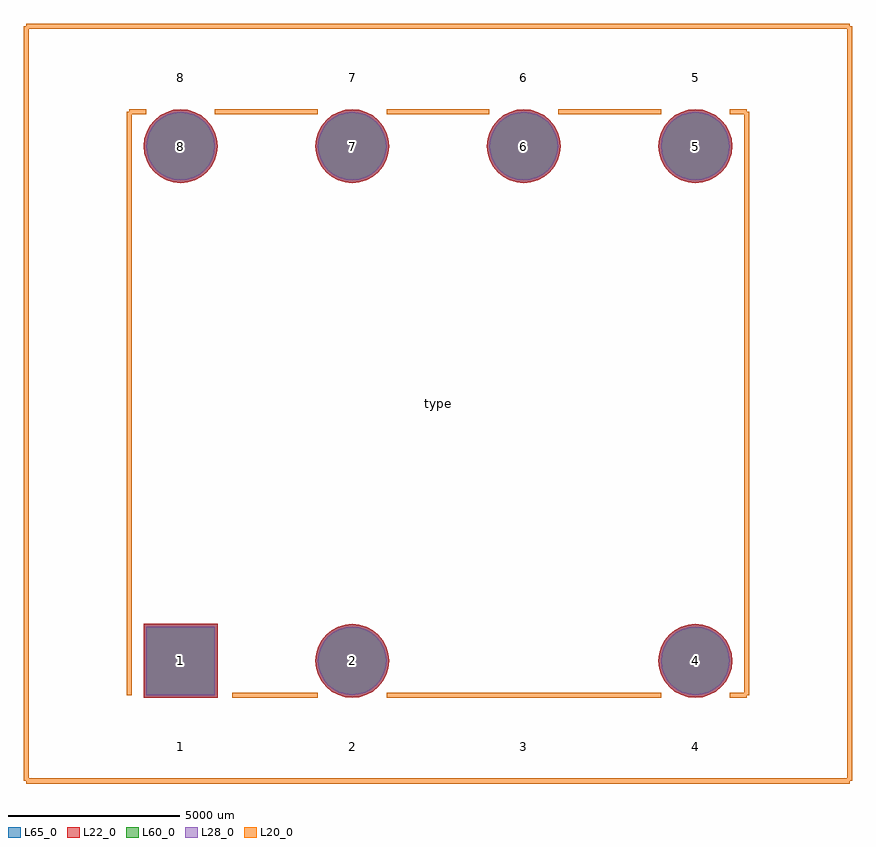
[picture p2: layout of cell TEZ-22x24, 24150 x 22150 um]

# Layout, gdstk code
import gdstk
lib = gdstk.Library(unit=1e-6, precision=1e-09)
def R(c, l, rs):  # rectangles x0, y0, x1, y1
    for r in rs: c.add(gdstk.rectangle(r[:2], r[2:], *l))
def P(c, l, *ps):  # polygons
    for p in ps: c.add(gdstk.Polygon(p, *l))
L20_0 = (20, 0)
L22_0 = (22, 0)
L28_0 = (28, 0)
L60_0 = (60, 0)
L65_0 = (65, 0)

tez_22x24 = lib.new_cell('TEZ-22x24')
R(tez_22x24, L22_0, [(-8575,-8575,-6425,-6425)])
P(tez_22x24, L22_0, [(-6425,7500),(-6445.656,7709.722),(-6506.83,7911.385),(-6606.17,8097.238),(-6739.86,8260.14),(-6902.762,8393.83),(-7088.615,8493.17),(-7290.278,8554.344),(-7500,8575),(-7709.722,8554.344),(-7911.385,8493.17),(-8097.238,8393.83),(-8260.14,8260.14),(-8393.83,8097.238),(-8493.17,7911.385),(-8554.344,7709.722),(-8575,7500),(-8554.344,7290.278),(-8493.17,7088.615),(-8393.83,6902.762),(-8260.14,6739.86),(-8097.238,6606.17),(-7911.385,6506.83),(-7709.722,6445.656),(-7500,6425),(-7290.278,6445.656),(-7088.615,6506.83),(-6902.762,6606.17),(-6739.86,6739.86),(-6606.17,6902.762),(-6506.83,7088.615),(-6445.656,7290.278)],
  [(-1425,7500),(-1445.656,7709.722),(-1506.83,7911.385),(-1606.17,8097.238),(-1739.86,8260.14),(-1902.762,8393.83),(-2088.615,8493.17),(-2290.278,8554.344),(-2500,8575),(-2709.722,8554.344),(-2911.385,8493.17),(-3097.238,8393.83),(-3260.14,8260.14),(-3393.83,8097.238),(-3493.17,7911.385),(-3554.344,7709.722),(-3575,7500),(-3554.344,7290.278),(-3493.17,7088.615),(-3393.83,6902.762),(-3260.14,6739.86),(-3097.238,6606.17),(-2911.385,6506.83),(-2709.722,6445.656),(-2500,6425),(-2290.278,6445.656),(-2088.615,6506.83),(-1902.762,6606.17),(-1739.86,6739.86),(-1606.17,6902.762),(-1506.83,7088.615),(-1445.656,7290.278)],
  [(3575,7500),(3554.344,7709.722),(3493.17,7911.385),(3393.83,8097.238),(3260.14,8260.14),(3097.238,8393.83),(2911.385,8493.17),(2709.722,8554.344),(2500,8575),(2290.278,8554.344),(2088.615,8493.17),(1902.762,8393.83),(1739.86,8260.14),(1606.17,8097.238),(1506.83,7911.385),(1445.656,7709.722),(1425,7500),(1445.656,7290.278),(1506.83,7088.615),(1606.17,6902.762),(1739.86,6739.86),(1902.762,6606.17),(2088.615,6506.83),(2290.278,6445.656),(2500,6425),(2709.722,6445.656),(2911.385,6506.83),(3097.238,6606.17),(3260.14,6739.86),(3393.83,6902.762),(3493.17,7088.615),(3554.344,7290.278)],
  [(8575,7500),(8554.344,7709.722),(8493.17,7911.385),(8393.83,8097.238),(8260.14,8260.14),(8097.238,8393.83),(7911.385,8493.17),(7709.722,8554.344),(7500,8575),(7290.278,8554.344),(7088.615,8493.17),(6902.762,8393.83),(6739.86,8260.14),(6606.17,8097.238),(6506.83,7911.385),(6445.656,7709.722),(6425,7500),(6445.656,7290.278),(6506.83,7088.615),(6606.17,6902.762),(6739.86,6739.86),(6902.762,6606.17),(7088.615,6506.83),(7290.278,6445.656),(7500,6425),(7709.722,6445.656),(7911.385,6506.83),(8097.238,6606.17),(8260.14,6739.86),(8393.83,6902.762),(8493.17,7088.615),(8554.344,7290.278)],
  [(8575,-7500),(8554.344,-7290.278),(8493.17,-7088.615),(8393.83,-6902.762),(8260.14,-6739.86),(8097.238,-6606.17),(7911.385,-6506.83),(7709.722,-6445.656),(7500,-6425),(7290.278,-6445.656),(7088.615,-6506.83),(6902.762,-6606.17),(6739.86,-6739.86),(6606.17,-6902.762),(6506.83,-7088.615),(6445.656,-7290.278),(6425,-7500),(6445.656,-7709.722),(6506.83,-7911.385),(6606.17,-8097.238),(6739.86,-8260.14),(6902.762,-8393.83),(7088.615,-8493.17),(7290.278,-8554.344),(7500,-8575),(7709.722,-8554.344),(7911.385,-8493.17),(8097.238,-8393.83),(8260.14,-8260.14),(8393.83,-8097.238),(8493.17,-7911.385),(8554.344,-7709.722)],
  [(-1425,-7500),(-1445.656,-7290.278),(-1506.83,-7088.615),(-1606.17,-6902.762),(-1739.86,-6739.86),(-1902.762,-6606.17),(-2088.615,-6506.83),(-2290.278,-6445.656),(-2500,-6425),(-2709.722,-6445.656),(-2911.385,-6506.83),(-3097.238,-6606.17),(-3260.14,-6739.86),(-3393.83,-6902.762),(-3493.17,-7088.615),(-3554.344,-7290.278),(-3575,-7500),(-3554.344,-7709.722),(-3493.17,-7911.385),(-3393.83,-8097.238),(-3260.14,-8260.14),(-3097.238,-8393.83),(-2911.385,-8493.17),(-2709.722,-8554.344),(-2500,-8575),(-2290.278,-8554.344),(-2088.615,-8493.17),(-1902.762,-8393.83),(-1739.86,-8260.14),(-1606.17,-8097.238),(-1506.83,-7911.385),(-1445.656,-7709.722)])
R(tez_22x24, L28_0, [(-8500,-8500,-6500,-6500)])
P(tez_22x24, L28_0, [(-6500,7500),(-6519.215,7695.09),(-6576.12,7882.683),(-6668.53,8055.57),(-6792.893,8207.107),(-6944.43,8331.47),(-7117.317,8423.88),(-7304.91,8480.785),(-7500,8500),(-7695.09,8480.785),(-7882.683,8423.88),(-8055.57,8331.47),(-8207.107,8207.107),(-8331.47,8055.57),(-8423.88,7882.683),(-8480.785,7695.09),(-8500,7500),(-8480.785,7304.91),(-8423.88,7117.317),(-8331.47,6944.43),(-8207.107,6792.893),(-8055.57,6668.53),(-7882.683,6576.12),(-7695.09,6519.215),(-7500,6500),(-7304.91,6519.215),(-7117.317,6576.12),(-6944.43,6668.53),(-6792.893,6792.893),(-6668.53,6944.43),(-6576.12,7117.317),(-6519.215,7304.91)],
  [(-1500,7500),(-1519.215,7695.09),(-1576.12,7882.683),(-1668.53,8055.57),(-1792.893,8207.107),(-1944.43,8331.47),(-2117.317,8423.88),(-2304.91,8480.785),(-2500,8500),(-2695.09,8480.785),(-2882.683,8423.88),(-3055.57,8331.47),(-3207.107,8207.107),(-3331.47,8055.57),(-3423.88,7882.683),(-3480.785,7695.09),(-3500,7500),(-3480.785,7304.91),(-3423.88,7117.317),(-3331.47,6944.43),(-3207.107,6792.893),(-3055.57,6668.53),(-2882.683,6576.12),(-2695.09,6519.215),(-2500,6500),(-2304.91,6519.215),(-2117.317,6576.12),(-1944.43,6668.53),(-1792.893,6792.893),(-1668.53,6944.43),(-1576.12,7117.317),(-1519.215,7304.91)],
  [(3500,7500),(3480.785,7695.09),(3423.88,7882.683),(3331.47,8055.57),(3207.107,8207.107),(3055.57,8331.47),(2882.683,8423.88),(2695.09,8480.785),(2500,8500),(2304.91,8480.785),(2117.317,8423.88),(1944.43,8331.47),(1792.893,8207.107),(1668.53,8055.57),(1576.12,7882.683),(1519.215,7695.09),(1500,7500),(1519.215,7304.91),(1576.12,7117.317),(1668.53,6944.43),(1792.893,6792.893),(1944.43,6668.53),(2117.317,6576.12),(2304.91,6519.215),(2500,6500),(2695.09,6519.215),(2882.683,6576.12),(3055.57,6668.53),(3207.107,6792.893),(3331.47,6944.43),(3423.88,7117.317),(3480.785,7304.91)],
  [(8500,7500),(8480.785,7695.09),(8423.88,7882.683),(8331.47,8055.57),(8207.107,8207.107),(8055.57,8331.47),(7882.683,8423.88),(7695.09,8480.785),(7500,8500),(7304.91,8480.785),(7117.317,8423.88),(6944.43,8331.47),(6792.893,8207.107),(6668.53,8055.57),(6576.12,7882.683),(6519.215,7695.09),(6500,7500),(6519.215,7304.91),(6576.12,7117.317),(6668.53,6944.43),(6792.893,6792.893),(6944.43,6668.53),(7117.317,6576.12),(7304.91,6519.215),(7500,6500),(7695.09,6519.215),(7882.683,6576.12),(8055.57,6668.53),(8207.107,6792.893),(8331.47,6944.43),(8423.88,7117.317),(8480.785,7304.91)],
  [(8500,-7500),(8480.785,-7304.91),(8423.88,-7117.317),(8331.47,-6944.43),(8207.107,-6792.893),(8055.57,-6668.53),(7882.683,-6576.12),(7695.09,-6519.215),(7500,-6500),(7304.91,-6519.215),(7117.317,-6576.12),(6944.43,-6668.53),(6792.893,-6792.893),(6668.53,-6944.43),(6576.12,-7117.317),(6519.215,-7304.91),(6500,-7500),(6519.215,-7695.09),(6576.12,-7882.683),(6668.53,-8055.57),(6792.893,-8207.107),(6944.43,-8331.47),(7117.317,-8423.88),(7304.91,-8480.785),(7500,-8500),(7695.09,-8480.785),(7882.683,-8423.88),(8055.57,-8331.47),(8207.107,-8207.107),(8331.47,-8055.57),(8423.88,-7882.683),(8480.785,-7695.09)],
  [(-1500,-7500),(-1519.215,-7304.91),(-1576.12,-7117.317),(-1668.53,-6944.43),(-1792.893,-6792.893),(-1944.43,-6668.53),(-2117.317,-6576.12),(-2304.91,-6519.215),(-2500,-6500),(-2695.09,-6519.215),(-2882.683,-6576.12),(-3055.57,-6668.53),(-3207.107,-6792.893),(-3331.47,-6944.43),(-3423.88,-7117.317),(-3480.785,-7304.91),(-3500,-7500),(-3480.785,-7695.09),(-3423.88,-7882.683),(-3331.47,-8055.57),(-3207.107,-8207.107),(-3055.57,-8331.47),(-2882.683,-8423.88),(-2695.09,-8480.785),(-2500,-8500),(-2304.91,-8480.785),(-2117.317,-8423.88),(-1944.43,-8331.47),(-1792.893,-8207.107),(-1668.53,-8055.57),(-1576.12,-7882.683),(-1519.215,-7695.09)])
R(tez_22x24, L60_0, [(-8500,-8500,-6500,-6500)])
P(tez_22x24, L60_0, [(-6500,7500),(-6519.215,7695.09),(-6576.12,7882.683),(-6668.53,8055.57),(-6792.893,8207.107),(-6944.43,8331.47),(-7117.317,8423.88),(-7304.91,8480.785),(-7500,8500),(-7695.09,8480.785),(-7882.683,8423.88),(-8055.57,8331.47),(-8207.107,8207.107),(-8331.47,8055.57),(-8423.88,7882.683),(-8480.785,7695.09),(-8500,7500),(-8480.785,7304.91),(-8423.88,7117.317),(-8331.47,6944.43),(-8207.107,6792.893),(-8055.57,6668.53),(-7882.683,6576.12),(-7695.09,6519.215),(-7500,6500),(-7304.91,6519.215),(-7117.317,6576.12),(-6944.43,6668.53),(-6792.893,6792.893),(-6668.53,6944.43),(-6576.12,7117.317),(-6519.215,7304.91)],
  [(-1500,7500),(-1519.215,7695.09),(-1576.12,7882.683),(-1668.53,8055.57),(-1792.893,8207.107),(-1944.43,8331.47),(-2117.317,8423.88),(-2304.91,8480.785),(-2500,8500),(-2695.09,8480.785),(-2882.683,8423.88),(-3055.57,8331.47),(-3207.107,8207.107),(-3331.47,8055.57),(-3423.88,7882.683),(-3480.785,7695.09),(-3500,7500),(-3480.785,7304.91),(-3423.88,7117.317),(-3331.47,6944.43),(-3207.107,6792.893),(-3055.57,6668.53),(-2882.683,6576.12),(-2695.09,6519.215),(-2500,6500),(-2304.91,6519.215),(-2117.317,6576.12),(-1944.43,6668.53),(-1792.893,6792.893),(-1668.53,6944.43),(-1576.12,7117.317),(-1519.215,7304.91)],
  [(3500,7500),(3480.785,7695.09),(3423.88,7882.683),(3331.47,8055.57),(3207.107,8207.107),(3055.57,8331.47),(2882.683,8423.88),(2695.09,8480.785),(2500,8500),(2304.91,8480.785),(2117.317,8423.88),(1944.43,8331.47),(1792.893,8207.107),(1668.53,8055.57),(1576.12,7882.683),(1519.215,7695.09),(1500,7500),(1519.215,7304.91),(1576.12,7117.317),(1668.53,6944.43),(1792.893,6792.893),(1944.43,6668.53),(2117.317,6576.12),(2304.91,6519.215),(2500,6500),(2695.09,6519.215),(2882.683,6576.12),(3055.57,6668.53),(3207.107,6792.893),(3331.47,6944.43),(3423.88,7117.317),(3480.785,7304.91)],
  [(8500,7500),(8480.785,7695.09),(8423.88,7882.683),(8331.47,8055.57),(8207.107,8207.107),(8055.57,8331.47),(7882.683,8423.88),(7695.09,8480.785),(7500,8500),(7304.91,8480.785),(7117.317,8423.88),(6944.43,8331.47),(6792.893,8207.107),(6668.53,8055.57),(6576.12,7882.683),(6519.215,7695.09),(6500,7500),(6519.215,7304.91),(6576.12,7117.317),(6668.53,6944.43),(6792.893,6792.893),(6944.43,6668.53),(7117.317,6576.12),(7304.91,6519.215),(7500,6500),(7695.09,6519.215),(7882.683,6576.12),(8055.57,6668.53),(8207.107,6792.893),(8331.47,6944.43),(8423.88,7117.317),(8480.785,7304.91)],
  [(8500,-7500),(8480.785,-7304.91),(8423.88,-7117.317),(8331.47,-6944.43),(8207.107,-6792.893),(8055.57,-6668.53),(7882.683,-6576.12),(7695.09,-6519.215),(7500,-6500),(7304.91,-6519.215),(7117.317,-6576.12),(6944.43,-6668.53),(6792.893,-6792.893),(6668.53,-6944.43),(6576.12,-7117.317),(6519.215,-7304.91),(6500,-7500),(6519.215,-7695.09),(6576.12,-7882.683),(6668.53,-8055.57),(6792.893,-8207.107),(6944.43,-8331.47),(7117.317,-8423.88),(7304.91,-8480.785),(7500,-8500),(7695.09,-8480.785),(7882.683,-8423.88),(8055.57,-8331.47),(8207.107,-8207.107),(8331.47,-8055.57),(8423.88,-7882.683),(8480.785,-7695.09)],
  [(-1500,-7500),(-1519.215,-7304.91),(-1576.12,-7117.317),(-1668.53,-6944.43),(-1792.893,-6792.893),(-1944.43,-6668.53),(-2117.317,-6576.12),(-2304.91,-6519.215),(-2500,-6500),(-2695.09,-6519.215),(-2882.683,-6576.12),(-3055.57,-6668.53),(-3207.107,-6792.893),(-3331.47,-6944.43),(-3423.88,-7117.317),(-3480.785,-7304.91),(-3500,-7500),(-3480.785,-7695.09),(-3423.88,-7882.683),(-3331.47,-8055.57),(-3207.107,-8207.107),(-3055.57,-8331.47),(-2882.683,-8423.88),(-2695.09,-8480.785),(-2500,-8500),(-2304.91,-8480.785),(-2117.317,-8423.88),(-1944.43,-8331.47),(-1792.893,-8207.107),(-1668.53,-8055.57),(-1576.12,-7882.683),(-1519.215,-7695.09)])
R(tez_22x24, L65_0, [(-8575,-8575,-6425,-6425)])
P(tez_22x24, L65_0, [(-6425,7500),(-6445.656,7709.722),(-6506.83,7911.385),(-6606.17,8097.238),(-6739.86,8260.14),(-6902.762,8393.83),(-7088.615,8493.17),(-7290.278,8554.344),(-7500,8575),(-7709.722,8554.344),(-7911.385,8493.17),(-8097.238,8393.83),(-8260.14,8260.14),(-8393.83,8097.238),(-8493.17,7911.385),(-8554.344,7709.722),(-8575,7500),(-8554.344,7290.278),(-8493.17,7088.615),(-8393.83,6902.762),(-8260.14,6739.86),(-8097.238,6606.17),(-7911.385,6506.83),(-7709.722,6445.656),(-7500,6425),(-7290.278,6445.656),(-7088.615,6506.83),(-6902.762,6606.17),(-6739.86,6739.86),(-6606.17,6902.762),(-6506.83,7088.615),(-6445.656,7290.278)],
  [(-1425,7500),(-1445.656,7709.722),(-1506.83,7911.385),(-1606.17,8097.238),(-1739.86,8260.14),(-1902.762,8393.83),(-2088.615,8493.17),(-2290.278,8554.344),(-2500,8575),(-2709.722,8554.344),(-2911.385,8493.17),(-3097.238,8393.83),(-3260.14,8260.14),(-3393.83,8097.238),(-3493.17,7911.385),(-3554.344,7709.722),(-3575,7500),(-3554.344,7290.278),(-3493.17,7088.615),(-3393.83,6902.762),(-3260.14,6739.86),(-3097.238,6606.17),(-2911.385,6506.83),(-2709.722,6445.656),(-2500,6425),(-2290.278,6445.656),(-2088.615,6506.83),(-1902.762,6606.17),(-1739.86,6739.86),(-1606.17,6902.762),(-1506.83,7088.615),(-1445.656,7290.278)],
  [(3575,7500),(3554.344,7709.722),(3493.17,7911.385),(3393.83,8097.238),(3260.14,8260.14),(3097.238,8393.83),(2911.385,8493.17),(2709.722,8554.344),(2500,8575),(2290.278,8554.344),(2088.615,8493.17),(1902.762,8393.83),(1739.86,8260.14),(1606.17,8097.238),(1506.83,7911.385),(1445.656,7709.722),(1425,7500),(1445.656,7290.278),(1506.83,7088.615),(1606.17,6902.762),(1739.86,6739.86),(1902.762,6606.17),(2088.615,6506.83),(2290.278,6445.656),(2500,6425),(2709.722,6445.656),(2911.385,6506.83),(3097.238,6606.17),(3260.14,6739.86),(3393.83,6902.762),(3493.17,7088.615),(3554.344,7290.278)],
  [(8575,7500),(8554.344,7709.722),(8493.17,7911.385),(8393.83,8097.238),(8260.14,8260.14),(8097.238,8393.83),(7911.385,8493.17),(7709.722,8554.344),(7500,8575),(7290.278,8554.344),(7088.615,8493.17),(6902.762,8393.83),(6739.86,8260.14),(6606.17,8097.238),(6506.83,7911.385),(6445.656,7709.722),(6425,7500),(6445.656,7290.278),(6506.83,7088.615),(6606.17,6902.762),(6739.86,6739.86),(6902.762,6606.17),(7088.615,6506.83),(7290.278,6445.656),(7500,6425),(7709.722,6445.656),(7911.385,6506.83),(8097.238,6606.17),(8260.14,6739.86),(8393.83,6902.762),(8493.17,7088.615),(8554.344,7290.278)],
  [(8575,-7500),(8554.344,-7290.278),(8493.17,-7088.615),(8393.83,-6902.762),(8260.14,-6739.86),(8097.238,-6606.17),(7911.385,-6506.83),(7709.722,-6445.656),(7500,-6425),(7290.278,-6445.656),(7088.615,-6506.83),(6902.762,-6606.17),(6739.86,-6739.86),(6606.17,-6902.762),(6506.83,-7088.615),(6445.656,-7290.278),(6425,-7500),(6445.656,-7709.722),(6506.83,-7911.385),(6606.17,-8097.238),(6739.86,-8260.14),(6902.762,-8393.83),(7088.615,-8493.17),(7290.278,-8554.344),(7500,-8575),(7709.722,-8554.344),(7911.385,-8493.17),(8097.238,-8393.83),(8260.14,-8260.14),(8393.83,-8097.238),(8493.17,-7911.385),(8554.344,-7709.722)],
  [(-1425,-7500),(-1445.656,-7290.278),(-1506.83,-7088.615),(-1606.17,-6902.762),(-1739.86,-6739.86),(-1902.762,-6606.17),(-2088.615,-6506.83),(-2290.278,-6445.656),(-2500,-6425),(-2709.722,-6445.656),(-2911.385,-6506.83),(-3097.238,-6606.17),(-3260.14,-6739.86),(-3393.83,-6902.762),(-3493.17,-7088.615),(-3554.344,-7290.278),(-3575,-7500),(-3554.344,-7709.722),(-3493.17,-7911.385),(-3393.83,-8097.238),(-3260.14,-8260.14),(-3097.238,-8393.83),(-2911.385,-8493.17),(-2709.722,-8554.344),(-2500,-8575),(-2290.278,-8554.344),(-2088.615,-8493.17),(-1902.762,-8393.83),(-1739.86,-8260.14),(-1606.17,-8097.238),(-1506.83,-7911.385),(-1445.656,-7709.722)])
tez_22x24.add(gdstk.FlexPath([(-12000,-11000),(-12000,11000)], 149.998, ends="flush", simple_path=True, layer=20, datatype=0))  # L20_0
tez_22x24.add(gdstk.FlexPath([(12000,-11000),(-12000,-11000)], 149.998, ends="flush", simple_path=True, layer=20, datatype=0))  # L20_0
tez_22x24.add(gdstk.FlexPath([(12000,11000),(12000,-11000)], 149.998, ends="flush", simple_path=True, layer=20, datatype=0))  # L20_0
tez_22x24.add(gdstk.FlexPath([(-12000,11000),(12000,11000)], 149.998, ends="flush", simple_path=True, layer=20, datatype=0))  # L20_0
tez_22x24.add(gdstk.FlexPath([(-6500,8500),(-3500,8500)], 149.998, ends="flush", simple_path=True, layer=20, datatype=0))  # L20_0
tez_22x24.add(gdstk.FlexPath([(-1500,8500),(1500,8500)], 149.998, ends="flush", simple_path=True, layer=20, datatype=0))  # L20_0
tez_22x24.add(gdstk.FlexPath([(3500,8500),(6500,8500)], 149.998, ends="flush", simple_path=True, layer=20, datatype=0))  # L20_0
tez_22x24.add(gdstk.FlexPath([(8500,8500),(9000,8500)], 149.998, ends="flush", simple_path=True, layer=20, datatype=0))  # L20_0
tez_22x24.add(gdstk.FlexPath([(-8500,8500),(-9000,8500)], 149.998, ends="flush", simple_path=True, layer=20, datatype=0))  # L20_0
tez_22x24.add(gdstk.FlexPath([(-1500,-8500),(6500,-8500)], 149.998, ends="flush", simple_path=True, layer=20, datatype=0))  # L20_0
tez_22x24.add(gdstk.FlexPath([(9000,-8500),(9000,8500)], 149.998, ends="flush", simple_path=True, layer=20, datatype=0))  # L20_0
tez_22x24.add(gdstk.FlexPath([(8500,-8500),(9000,-8500)], 149.998, ends="flush", simple_path=True, layer=20, datatype=0))  # L20_0
tez_22x24.add(gdstk.FlexPath([(-9000,-8500),(-9000,8500)], 149.998, ends="flush", simple_path=True, layer=20, datatype=0))  # L20_0
tez_22x24.add(gdstk.FlexPath([(-3500,-8500),(-6000,-8500)], 149.998, ends="flush", simple_path=True, layer=20, datatype=0))  # L20_0
tez_22x24.add(gdstk.Label('8', (-7500,7500), layer=28, texttype=0))
tez_22x24.add(gdstk.Label('7', (-2500,7500), layer=28, texttype=0))
tez_22x24.add(gdstk.Label('6', (2500,7500), layer=28, texttype=0))
tez_22x24.add(gdstk.Label('5', (7500,7500), layer=28, texttype=0))
tez_22x24.add(gdstk.Label('4', (7500,-7500), layer=28, texttype=0))
tez_22x24.add(gdstk.Label('2', (-2500,-7500), layer=28, texttype=0))
tez_22x24.add(gdstk.Label('1', (-7500,-7500), layer=28, texttype=0))
tez_22x24.add(gdstk.Label('1', (-7500,-10000), layer=9, texttype=0))
tez_22x24.add(gdstk.Label('2', (-2500,-10000), layer=9, texttype=0))
tez_22x24.add(gdstk.Label('3', (2500,-10000), layer=9, texttype=0))
tez_22x24.add(gdstk.Label('4', (7500,-10000), layer=9, texttype=0))
tez_22x24.add(gdstk.Label('5', (7500,9500), layer=9, texttype=0))
tez_22x24.add(gdstk.Label('6', (2500,9500), layer=9, texttype=0))
tez_22x24.add(gdstk.Label('7', (-2500,9500), layer=9, texttype=0))
tez_22x24.add(gdstk.Label('8', (-7500,9500), layer=9, texttype=0))
tez_22x24.add(gdstk.Label('type', (0,0), layer=9, texttype=0))
tez_22x24.add(gdstk.Label('devicename', (0,12500), layer=9, texttype=0))

lib.write_gds('TEZ-22x24.gds')
